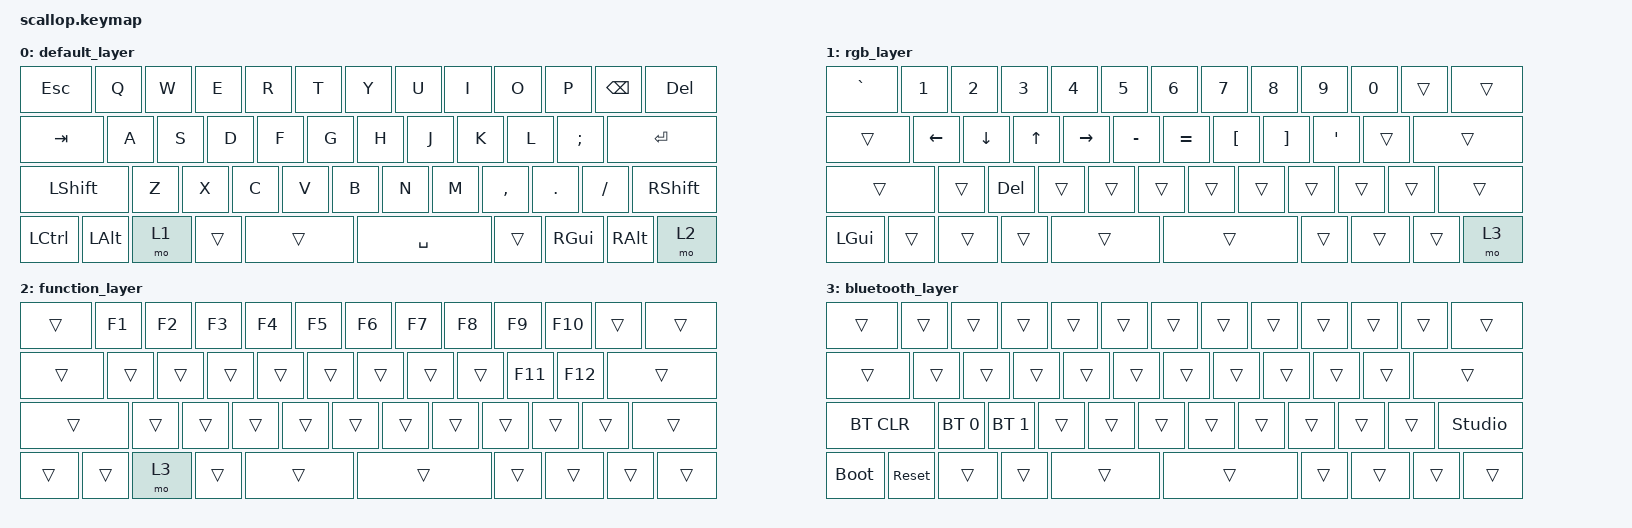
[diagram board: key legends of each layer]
/*
 * Copyright (c) 2021 Nick Winans
 *
 * SPDX-License-Identifier: MIT
 */

#include <behaviors.dtsi>
#include <dt-bindings/zmk/keys.h>
#include <dt-bindings/zmk/rgb.h>
#include <dt-bindings/zmk/bt.h>

&lt {
    tapping-term-ms = <215>;
};

/ {
    keymap {
        compatible = "zmk,keymap";

        default_layer {
            bindings = <
    &kp ESC  &kp Q  &kp W  &kp E  &kp R  &kp T  &kp Y  &kp U  &kp I  &kp O  &kp P  &kp BSPC  &kp DEL
    &kp TAB  &kp A  &kp S  &kp D  &kp F  &kp G  &kp H  &kp J  &kp K  &kp L  &kp SEMI &kp RET
    &kp LSHFT   &kp Z  &kp X  &kp C  &kp V  &kp B  &kp N  &kp M  &kp COMMA &kp DOT &kp FSLH  &kp RSHFT
    &kp LCTRL &kp LALT &mo 1  &trans  &trans     &kp SPACE      &trans          &kp RGUI  &kp RALT  &mo 2
            >;
        };

        rgb_layer {
            bindings = <
    &kp GRAVE &kp N1   &kp N2    &kp N3  &kp N4     &kp N5  &kp N6  &kp N7  &kp N8  &kp N9  &kp N0  &trans &trans
    &trans    &kp LEFT &kp DOWN  &kp UP  &kp RIGHT  &kp MINUS  &kp EQUAL  &kp LBKT  &kp RBKT &kp APOS &trans &trans
    &trans   &trans &kp DEL  &trans  &trans  &trans  &trans &trans  &trans &trans &trans   &trans
    &kp LGUI &trans &trans             &trans                     &trans  &trans  &trans &trans &trans &mo 3
            >;
        };

        function_layer {
            bindings = <
    &trans  &kp F1  &kp F2  &kp F3  &kp F4  &kp F5  &kp F6  &kp F7  &kp F8  &kp F9  &kp F10  &trans &trans
    &trans  &trans  &trans  &trans  &trans  &trans  &trans  &trans  &trans  &kp F11  &kp F12 &trans
    &trans   &trans &trans  &trans  &trans  &trans  &trans &trans  &trans &trans &trans          &trans
    &trans &trans &mo 3             &trans                     &trans  &trans  &trans &trans &trans &trans
            >;
        };

        bluetooth_layer {
            bindings = <
    &trans &trans  &trans  &trans  &trans &trans &trans  &trans &trans  &trans  &trans  &trans &trans
    &trans  &trans  &trans  &trans  &trans  &trans  &trans  &trans  &trans  &trans  &trans &trans
    &bt BT_CLR   &bt BT_SEL 0 &bt BT_SEL 1  &trans  &trans  &trans  &trans &trans  &trans &trans &trans          &studio_unlock
    &bootloader &sys_reset &trans             &trans                     &trans  &trans  &trans &trans &trans &trans
            >;
        };
    };
};
